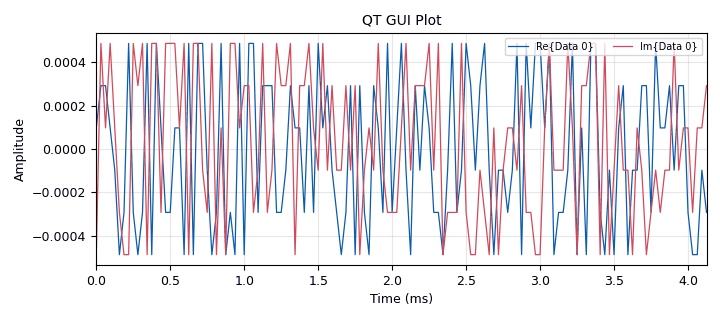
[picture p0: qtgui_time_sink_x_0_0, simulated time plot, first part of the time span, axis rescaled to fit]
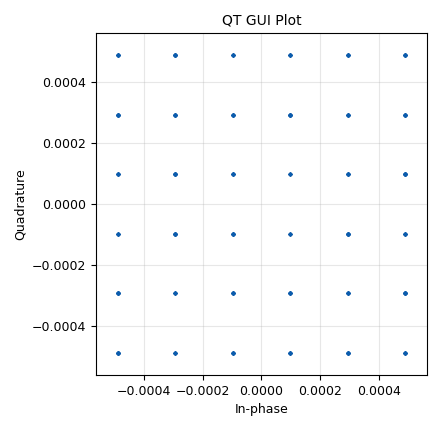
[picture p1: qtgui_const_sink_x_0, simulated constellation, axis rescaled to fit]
<?xml version='1.0' encoding='utf-8'?>
<flow_graph>
<block>
<key>options</key>
<param><key>id</key><value>demo_ofdm</value></param>
<param><key>author</key><value>mettus</value></param>
<param><key>generate_options</key><value>qt_gui</value></param>
<param><key>category</key><value>Custom</value></param>
</block>
<block>
<key>variable</key>
<param><key>id</key><value>const_size</value></param>
<param><key>value</key><value>64</value></param>
</block>
<block>
<key>variable</key>
<param><key>id</key><value>fft_size</value></param>
<param><key>value</key><value>1024</value></param>
</block>
<block>
<key>variable</key>
<param><key>id</key><value>samp_rate</value></param>
<param><key>value</key><value>32000</value></param>
</block>
<block>
<key>variable</key>
<param><key>id</key><value>k</value></param>
<param><key>value</key><value>math.log(const_size)/math.log(2)</value></param>
</block>
<block>
<key>import</key>
<param><key>id</key><value>import_0</value></param>
<param><key>import</key><value>import math</value></param>
</block>
<block>
<key>variable_qtgui_range</key>
<param><key>id</key><value>q_ofs</value></param>
<param><key>label</key><value>Q offset</value></param>
<param><key>value</key><value>0</value></param>
<param><key>start</key><value>-1</value></param>
<param><key>stop</key><value>1</value></param>
<param><key>step</key><value>0.001</value></param>
<param><key>orient</key><value>Qt.Horizontal</value></param>
<param><key>gui_hint</key><value>2,1,1,1</value></param>
</block>
<block>
<key>variable_qtgui_range</key>
<param><key>id</key><value>i_ofs</value></param>
<param><key>label</key><value>I offset</value></param>
<param><key>value</key><value>0</value></param>
<param><key>start</key><value>-1</value></param>
<param><key>stop</key><value>1</value></param>
<param><key>step</key><value>0.001</value></param>
<param><key>orient</key><value>Qt.Horizontal</value></param>
<param><key>gui_hint</key><value>2,0,1,1</value></param>
</block>
<block>
<key>variable_qtgui_range</key>
<param><key>id</key><value>phasebal</value></param>
<param><key>label</key><value>IQ Phase Imbalance</value></param>
<param><key>value</key><value>0</value></param>
<param><key>start</key><value>0</value></param>
<param><key>stop</key><value>45</value></param>
<param><key>step</key><value>0.1</value></param>
<param><key>orient</key><value>Qt.Horizontal</value></param>
<param><key>gui_hint</key><value>1,1,1,1</value></param>
</block>
<block>
<key>variable_qtgui_range</key>
<param><key>id</key><value>magbal</value></param>
<param><key>label</key><value>IQ Magnitude Imbalance</value></param>
<param><key>value</key><value>0</value></param>
<param><key>start</key><value>0</value></param>
<param><key>stop</key><value>10</value></param>
<param><key>step</key><value>0.1</value></param>
<param><key>orient</key><value>Qt.Horizontal</value></param>
<param><key>gui_hint</key><value>1,0,1,1</value></param>
</block>
<block>
<key>variable_qtgui_range</key>
<param><key>id</key><value>freq_offset</value></param>
<param><key>label</key><value>Frequency Offset</value></param>
<param><key>value</key><value>0</value></param>
<param><key>start</key><value>-0.5</value></param>
<param><key>stop</key><value>0.5</value></param>
<param><key>step</key><value>0.001</value></param>
<param><key>orient</key><value>Qt.Horizontal</value></param>
<param><key>gui_hint</key><value>0,1,1,1</value></param>
</block>
<block>
<key>variable_qtgui_range</key>
<param><key>id</key><value>phase_noise_mag</value></param>
<param><key>label</key><value>Phase Noise Mag (dB)</value></param>
<param><key>value</key><value>-100</value></param>
<param><key>start</key><value>-100</value></param>
<param><key>stop</key><value>0</value></param>
<param><key>step</key><value>1</value></param>
<param><key>orient</key><value>Qt.Horizontal</value></param>
<param><key>gui_hint</key><value>0, 0, 1,1</value></param>
</block>
<block>
<key>qtgui_time_sink_x</key>
<param><key>id</key><value>qtgui_time_sink_x_0_0</value></param>
<param><key>type</key><value>complex</value></param>
<param><key>name</key><value>QT GUI Plot</value></param>
<param><key>size</key><value>1024</value></param>
<param><key>srate</key><value>samp_rate</value></param>
<param><key>gui_hint</key><value>4,1,1,1</value></param>
</block>
<block>
<key>variable_qtgui_range</key>
<param><key>id</key><value>beta</value></param>
<param><key>label</key><value>k3 (IP3)</value></param>
<param><key>value</key><value>0</value></param>
<param><key>start</key><value>-10</value></param>
<param><key>stop</key><value>0</value></param>
<param><key>step</key><value>0.01</value></param>
<param><key>orient</key><value>Qt.Horizontal</value></param>
<param><key>gui_hint</key><value>3,0,1,1</value></param>
</block>
<block>
<key>blocks_float_to_complex</key>
<param><key>id</key><value>blocks_float_to_complex_0</value></param>
</block>
<block>
<key>fft_vxx</key>
<param><key>id</key><value>fft_fft_vxx_0_0</value></param>
<param><key>type</key><value>complex</value></param>
<param><key>fft_size</key><value>fft_size</value></param>
<param><key>forward</key><value>True</value></param>
<param><key>window</key><value>fft_size*[1.0/math.sqrt(fft_size)]</value></param>
<param><key>shift</key><value>False</value></param>
</block>
<block>
<key>fft_vxx</key>
<param><key>id</key><value>fft_fft_vxx_0</value></param>
<param><key>type</key><value>complex</value></param>
<param><key>fft_size</key><value>fft_size</value></param>
<param><key>forward</key><value>False</value></param>
<param><key>window</key><value>fft_size*[1.0/math.sqrt(fft_size)]</value></param>
<param><key>shift</key><value>False</value></param>
</block>
<block>
<key>blocks_multiply_const_vxx</key>
<param><key>id</key><value>blocks_multiply_const_vxx_0</value></param>
<param><key>type</key><value>complex</value></param>
<param><key>const</key><value>1.0/fft_size</value></param>
</block>
<block>
<key>blocks_vector_to_stream</key>
<param><key>id</key><value>blocks_vector_to_stream_0_0</value></param>
<param><key>type</key><value>complex</value></param>
<param><key>num_items</key><value>fft_size</value></param>
</block>
<block>
<key>channels_impairments</key>
<param><key>id</key><value>channels_impairments_0</value></param>
<param><key>phase_noise_mag</key><value>phase_noise_mag</value></param>
<param><key>magbal</key><value>magbal</value></param>
<param><key>phasebal</key><value>phasebal</value></param>
<param><key>q_ofs</key><value>q_ofs</value></param>
<param><key>i_ofs</key><value>i_ofs</value></param>
<param><key>freq_offset</key><value>freq_offset</value></param>
<param><key>gamma</key><value>0</value></param>
<param><key>beta</key><value>beta</value></param>
</block>
<block>
<key>blocks_stream_to_vector</key>
<param><key>id</key><value>blocks_stream_to_vector_0_0</value></param>
<param><key>type</key><value>complex</value></param>
<param><key>num_items</key><value>fft_size</value></param>
</block>
<block>
<key>blocks_vector_to_stream</key>
<param><key>id</key><value>blocks_vector_to_stream_0</value></param>
<param><key>type</key><value>complex</value></param>
<param><key>num_items</key><value>fft_size</value></param>
</block>
<block>
<key>blocks_stream_to_vector</key>
<param><key>id</key><value>blocks_stream_to_vector_0</value></param>
<param><key>type</key><value>complex</value></param>
<param><key>num_items</key><value>fft_size</value></param>
</block>
<block>
<key>blocks_add_const_vxx</key>
<param><key>id</key><value>blocks_add_const_vxx_0</value></param>
<param><key>type</key><value>complex</value></param>
<param><key>const</key><value>(-1-1j)/2</value></param>
</block>
<block>
<key>blocks_throttle</key>
<param><key>id</key><value>blocks_throttle_0</value></param>
<param><key>type</key><value>complex</value></param>
<param><key>samples_per_second</key><value>samp_rate</value></param>
</block>
<block>
<key>qtgui_const_sink_x</key>
<param><key>id</key><value>qtgui_const_sink_x_0</value></param>
<param><key>type</key><value>complex</value></param>
<param><key>name</key><value>QT GUI Plot</value></param>
<param><key>size</key><value>1024</value></param>
<param><key>gui_hint</key><value>4,0,1,1</value></param>
</block>
<block>
<key>blocks_int_to_float</key>
<param><key>id</key><value>blocks_int_to_float_0</value></param>
<param><key>scale</key><value>k-1</value></param>
</block>
<block>
<key>blocks_int_to_float</key>
<param><key>id</key><value>blocks_int_to_float_0_0</value></param>
<param><key>scale</key><value>k-1</value></param>
</block>
<block>
<key>analog_random_source_x</key>
<param><key>id</key><value>analog_random_source_x_0</value></param>
<param><key>type</key><value>int</value></param>
<param><key>min</key><value>0</value></param>
<param><key>max</key><value>int(k)</value></param>
<param><key>num_samps</key><value>10000</value></param>
<param><key>repeat</key><value>True</value></param>
</block>
<block>
<key>analog_random_source_x</key>
<param><key>id</key><value>analog_random_source_x_0_0</value></param>
<param><key>type</key><value>int</value></param>
<param><key>min</key><value>0</value></param>
<param><key>max</key><value>int(k)</value></param>
<param><key>num_samps</key><value>10000</value></param>
<param><key>repeat</key><value>True</value></param>
</block>
<connection><source_block_id>blocks_stream_to_vector_0_0</source_block_id><sink_block_id>fft_fft_vxx_0_0</sink_block_id><source_key>0</source_key><sink_key>0</sink_key></connection>
<connection><source_block_id>channels_impairments_0</source_block_id><sink_block_id>blocks_stream_to_vector_0_0</sink_block_id><source_key>0</source_key><sink_key>0</sink_key></connection>
<connection><source_block_id>blocks_throttle_0</source_block_id><sink_block_id>blocks_stream_to_vector_0</sink_block_id><source_key>0</source_key><sink_key>0</sink_key></connection>
<connection><source_block_id>fft_fft_vxx_0_0</source_block_id><sink_block_id>blocks_vector_to_stream_0</sink_block_id><source_key>0</source_key><sink_key>0</sink_key></connection>
<connection><source_block_id>blocks_add_const_vxx_0</source_block_id><sink_block_id>blocks_throttle_0</sink_block_id><source_key>0</source_key><sink_key>0</sink_key></connection>
<connection><source_block_id>blocks_float_to_complex_0</source_block_id><sink_block_id>blocks_add_const_vxx_0</sink_block_id><source_key>0</source_key><sink_key>0</sink_key></connection>
<connection><source_block_id>analog_random_source_x_0</source_block_id><sink_block_id>blocks_int_to_float_0</sink_block_id><source_key>0</source_key><sink_key>0</sink_key></connection>
<connection><source_block_id>blocks_int_to_float_0</source_block_id><sink_block_id>blocks_float_to_complex_0</sink_block_id><source_key>0</source_key><sink_key>0</sink_key></connection>
<connection><source_block_id>blocks_int_to_float_0_0</source_block_id><sink_block_id>blocks_float_to_complex_0</sink_block_id><source_key>0</source_key><sink_key>1</sink_key></connection>
<connection><source_block_id>analog_random_source_x_0_0</source_block_id><sink_block_id>blocks_int_to_float_0_0</sink_block_id><source_key>0</source_key><sink_key>0</sink_key></connection>
<connection><source_block_id>blocks_vector_to_stream_0</source_block_id><sink_block_id>qtgui_time_sink_x_0_0</sink_block_id><source_key>0</source_key><sink_key>0</sink_key></connection>
<connection><source_block_id>blocks_vector_to_stream_0</source_block_id><sink_block_id>qtgui_const_sink_x_0</sink_block_id><source_key>0</source_key><sink_key>0</sink_key></connection>
<connection><source_block_id>fft_fft_vxx_0</source_block_id><sink_block_id>blocks_vector_to_stream_0_0</sink_block_id><source_key>0</source_key><sink_key>0</sink_key></connection>
<connection><source_block_id>blocks_vector_to_stream_0_0</source_block_id><sink_block_id>blocks_multiply_const_vxx_0</sink_block_id><source_key>0</source_key><sink_key>0</sink_key></connection>
<connection><source_block_id>blocks_multiply_const_vxx_0</source_block_id><sink_block_id>channels_impairments_0</sink_block_id><source_key>0</source_key><sink_key>0</sink_key></connection>
<connection><source_block_id>blocks_stream_to_vector_0</source_block_id><sink_block_id>fft_fft_vxx_0</sink_block_id><source_key>0</source_key><sink_key>0</sink_key></connection>
</flow_graph>
